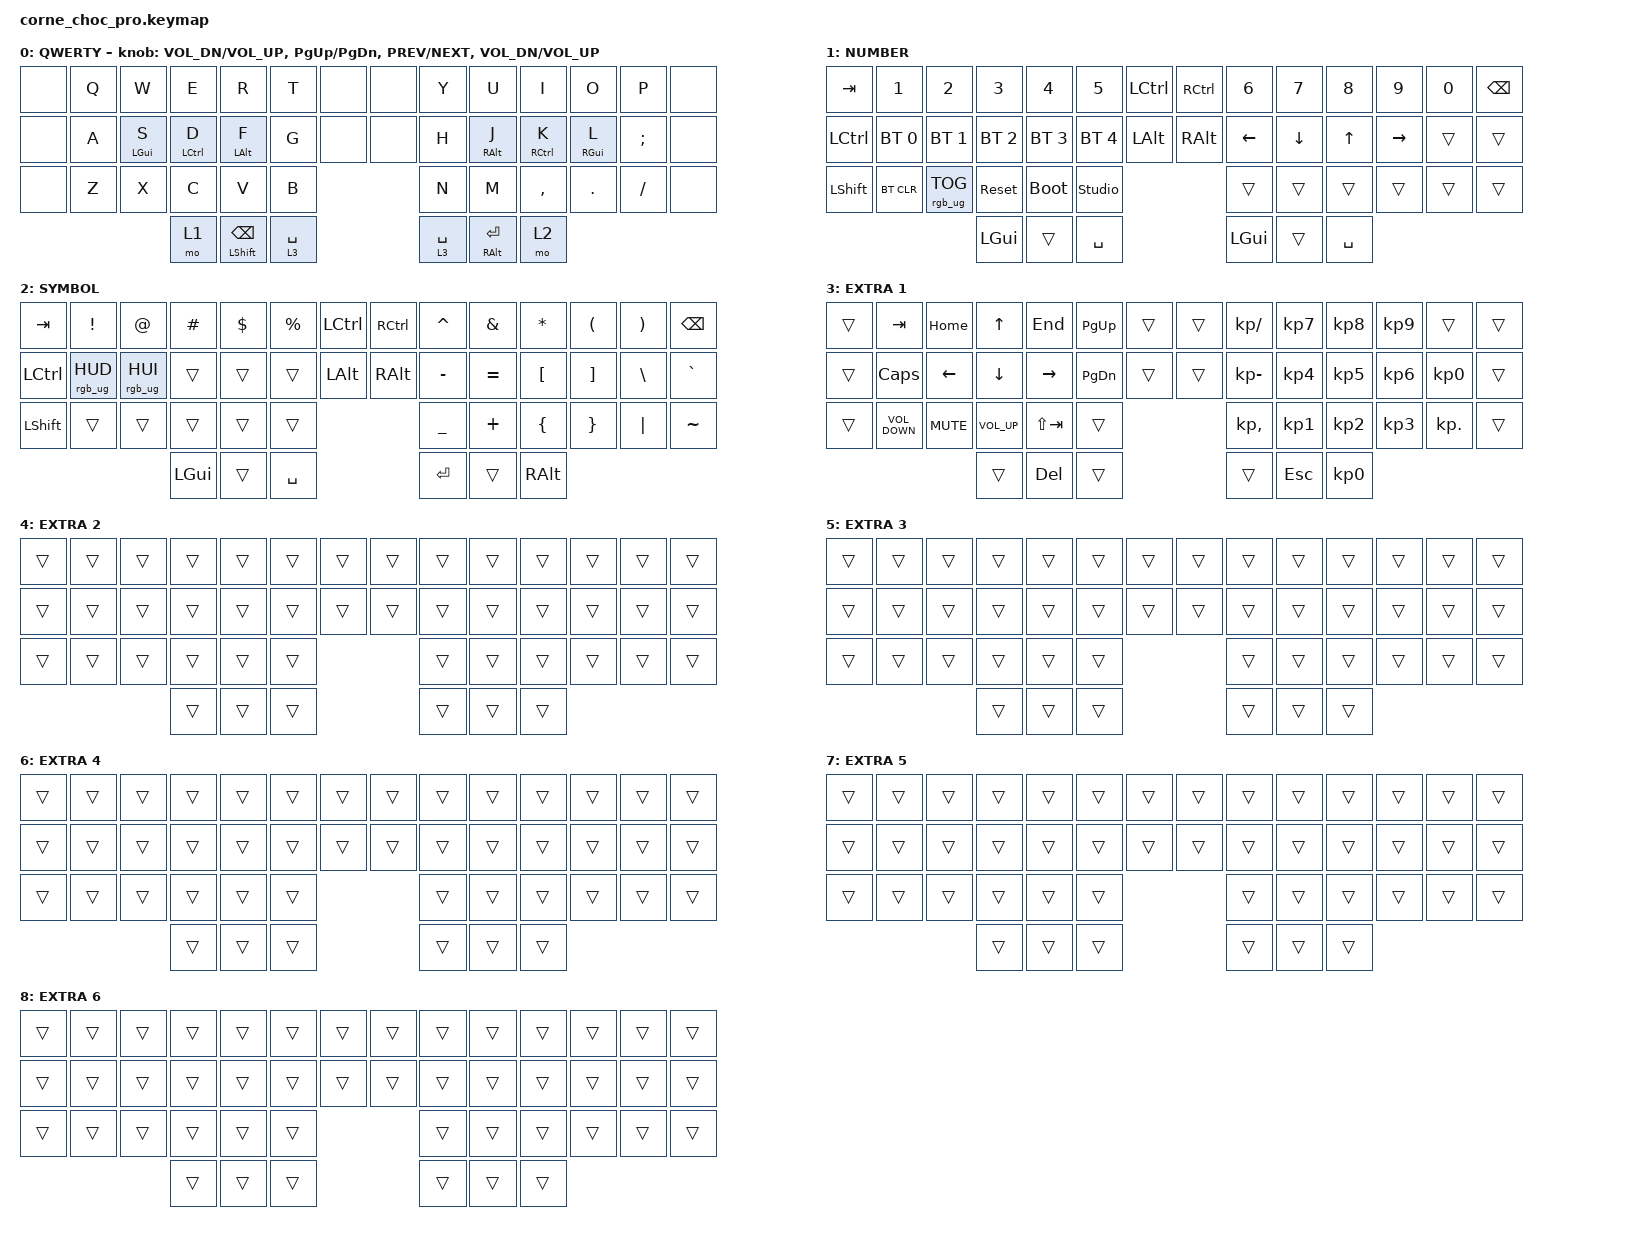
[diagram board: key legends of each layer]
/*
 * Copyright (c) 2020 The ZMK Contributors
 *
 * SPDX-License-Identifier: MIT
 */

#include <behaviors.dtsi>
#include <dt-bindings/zmk/bt.h>
#include <dt-bindings/zmk/keys.h>
#include <dt-bindings/zmk/rgb.h>

/ {
    chosen { zmk,physical-layout = &five_col_layout; };
};

/ {
    behaviors {
        lp: long_press {
            compatible = "zmk,behavior-hold-tap";
            label = "LP";
            bindings = <&kp>, <&kp>;

            #binding-cells = <2>;
            tapping-term-ms = <350>;
            flavor = "tap-preferred";
        };

        hrsr: HomeRowShiftRight {
            compatible = "zmk,behavior-hold-tap";
            label = "HRSR";
            bindings = <&kp>, <&kp>;

            #binding-cells = <2>;
            tapping-term-ms = <200>;
            hold-while-undecided;
            hold-trigger-key-positions = <0 1 2 4 5 6 14 15 16 17 18 19 20 28 29 30 31 32 33 41 40 42>;
            hold-trigger-on-release;
        };

        hrsl: HomeRowShiftLeft {
            compatible = "zmk,behavior-hold-tap";
            label = "HRSL";
            bindings = <&kp>, <&kp>;

            #binding-cells = <2>;
            tapping-term-ms = <200>;
            hold-while-undecided;
            hold-trigger-on-release;
            hold-trigger-key-positions = <7 8 9 10 11 12 13 21 22 23 24 25 26 27 34 35 36 37 38 39 43 44 45>;
        };

        hrr: HomeRowRight {
            compatible = "zmk,behavior-hold-tap";
            label = "HRR";
            bindings = <&kp>, <&kp>;

            #binding-cells = <2>;
            tapping-term-ms = <200>;
            hold-while-undecided;
            hold-trigger-key-positions = <0 1 2 4 5 6 14 15 16 17 18 19 20 28 29 30 31 32 33 41 40 42>;
            hold-trigger-on-release;
            flavor = "tap-preferred";
        };

        hrl: HomeRowLeft {
            compatible = "zmk,behavior-hold-tap";
            label = "HRL";
            bindings = <&kp>, <&kp>;

            #binding-cells = <2>;
            tapping-term-ms = <200>;
            hold-while-undecided;
            hold-trigger-on-release;
            hold-trigger-key-positions = <7 8 9 10 11 12 13 21 22 23 24 25 26 27 34 35 36 37 38 39 43 44 45>;
            flavor = "tap-preferred";
        };

        nav: nav {
            compatible = "zmk,behavior-hold-tap";
            label = "NAV";
            bindings = <&kp>, <&kp>;

            #binding-cells = <2>;
            tapping-term-ms = <200>;
            hold-trigger-key-positions = <0 1 2 4 5 6 14 15 16 17 18 19 20 28 29 30 31 32 33 41 44 8 9 10 11 12 13 22 23 24 25 26 27 34 35 36 37 38 39 44 7 21 3>;
            hold-trigger-on-release;
            flavor = "tap-preferred";
        };
    };

    keymap {
        compatible = "zmk,keymap";

        default_layer {
            display-name = "QWERTY";

            // --------------------------------------------------------------------------------
            // |  TAB |  Q  |  W  |  E  |  R  |  T  |  MUTE |  PP   |  Y  |  U   |  I  |  O  |  P  | BSPC |
            // | CTRL |  A  |  S  |  D  |  F  |  G  |  LALT |  RALT |  H  |  J   |  K  |  L  |  ;  |  '   |
            // | SHFT |  Z  |  X  |  C  |  V  |  B  |               |  N  |  M   |  ,  |  .  |  /  | ESC  |
            //                    | GUI | LWR | SPC |               | ENT | RSE  | ALT |

            bindings = <
&none  &kp Q  &kp W            &kp E                &kp R                       &kp T        &none  &none  &kp Y        &kp U                  &kp I                 &kp O             &kp P     &none
&none  &kp A  &hrl LEFT_GUI S  &hrl LEFT_CONTROL D  &hrl LEFT_ALT F             &kp G        &none  &none  &kp H        &hrr RIGHT_ALT J       &hrr RIGHT_CONTROL K  &hrr RIGHT_GUI L  &kp SEMI  &none
&none  &kp Z  &kp X            &kp C                &kp V                       &kp B                      &kp N        &kp M                  &kp COMMA             &kp DOT           &kp FSLH  &none
                               &mo 1                &hrsl LEFT_SHIFT BACKSPACE  &lt 3 SPACE                &lt 3 SPACE  &hrsr RIGHT_ALT ENTER  &mo 2
            >;

            sensor-bindings = <&inc_dec_kp C_VOL_DN C_VOL_UP &inc_dec_kp PG_UP PG_DN &inc_dec_kp C_PREV C_NEXT &inc_dec_kp C_VOL_DN C_VOL_UP>;
        };

        lower_layer {
            display-name = "NUMBER";

            // -----------------------------------------------------------------------------------------
            // |  TAB |  1  |  2  |  3  |  4  |  5    |  LCTRL | RCTRL |  6  |  7  |  8  |  9  |  0  | BSPC |
            // | CTRL | BT1 | BT2 | BT3 | BT4 | BT5   |  LALT  | RALT  | LFT | DWN |  UP | RGT |     |      |
            // | SHFT | BTCR| RGB | RST | BOOT| Unlock|        |       |     |     |     |     |     |      |
            //                    | GUI |     | SPC   |        | ENT   |     | ALT |

            bindings = <
&kp TAB    &kp N1        &kp N2           &kp N3        &kp N4        &kp N5          &kp LCTRL  &kp RCTRL  &kp N6    &kp N7    &kp N8     &kp N9     &kp N0  &kp BSPC
&kp LCTRL  &bt BT_SEL 0  &bt BT_SEL 1     &bt BT_SEL 2  &bt BT_SEL 3  &bt BT_SEL 4    &kp LALT   &kp RALT   &kp LEFT  &kp DOWN  &kp UP     &kp RIGHT  &trans  &trans
&kp LSHFT  &bt BT_CLR    &rgb_ug RGB_TOG  &sys_reset    &bootloader   &studio_unlock                        &trans    &trans    &trans     &trans     &trans  &trans
                                          &kp LGUI      &trans        &kp SPACE                             &kp LGUI  &trans    &kp SPACE
            >;
        };

        raise_layer {
            display-name = "SYMBOL";

            // -----------------------------------------------------------------------------------------
            // |  TAB |  !  |  @  |  #  |  $  |  %  | LCTRL | RCTRL |  ^  |  &  |  *  |  (  |  )  | BSPC |
            // | CTRL | HUD | HUI |     |     |     |  LALT | RALT  |  -  |  =  |  [  |  ]  |  \  |  `   |
            // | SHFT |     |     |     |     |     |               |  _  |  +  |  {  |  }  | "|" |  ~   |
            //                    | GUI |     | SPC |               | ENT |     | ALT |

            bindings = <
&kp TAB    &kp EXCL         &kp AT           &kp HASH  &kp DLLR  &kp PRCNT  &kp LCTRL  &kp RCTRL  &kp CARET  &kp AMPS   &kp ASTRK  &kp LPAR  &kp RPAR  &kp BSPC
&kp LCTRL  &rgb_ug RGB_HUD  &rgb_ug RGB_HUI  &trans    &trans    &trans     &kp LALT   &kp RALT   &kp MINUS  &kp EQUAL  &kp LBKT   &kp RBKT  &kp BSLH  &kp GRAVE
&kp LSHFT  &trans           &trans           &trans    &trans    &trans                           &kp UNDER  &kp PLUS   &kp LBRC   &kp RBRC  &kp PIPE  &kp TILDE
                                             &kp LGUI  &trans    &kp SPACE                        &kp RET    &trans     &kp RALT
            >;
        };

        nav {
            display-name = "EXTRA 1";
            bindings = <
&trans  &kp TAB            &kp HOME    &kp UP           &kp END      &kp PAGE_UP    &trans  &trans  &kp KP_DIVIDE  &kp KP_NUMBER_7  &kp KP_N8  &kp KP_N9        &trans      &trans
&trans  &kp CAPS           &kp LEFT    &kp DOWN         &kp RIGHT    &kp PAGE_DOWN  &trans  &trans  &kp KP_MINUS   &kp KP_N4        &kp KP_N5  &kp KP_NUMBER_6  &kp KP_N0   &trans
&trans  &kp C_VOLUME_DOWN  &kp C_MUTE  &kp C_VOLUME_UP  &kp LS(TAB)  &trans                         &kp KP_COMMA   &kp KP_N1        &kp KP_N2  &kp KP_N3        &kp KP_DOT  &trans
                                       &trans           &kp DELETE   &trans                         &trans         &kp ESCAPE       &kp KP_N0
            >;
        };

        extra_layer_2 {
            display-name = "EXTRA 2";
            bindings = <
&trans  &trans  &trans  &trans  &trans  &trans  &trans  &trans  &trans  &trans  &trans  &trans  &trans  &trans
&trans  &trans  &trans  &trans  &trans  &trans  &trans  &trans  &trans  &trans  &trans  &trans  &trans  &trans
&trans  &trans  &trans  &trans  &trans  &trans                  &trans  &trans  &trans  &trans  &trans  &trans
                        &trans  &trans  &trans                  &trans  &trans  &trans
            >;
        };

        extra_layer_3 {
            display-name = "EXTRA 3";
            bindings = <
&trans  &trans  &trans  &trans  &trans  &trans  &trans  &trans  &trans  &trans  &trans  &trans  &trans  &trans
&trans  &trans  &trans  &trans  &trans  &trans  &trans  &trans  &trans  &trans  &trans  &trans  &trans  &trans
&trans  &trans  &trans  &trans  &trans  &trans                  &trans  &trans  &trans  &trans  &trans  &trans
                        &trans  &trans  &trans                  &trans  &trans  &trans
            >;
        };

        extra_layer_4 {
            display-name = "EXTRA 4";
            bindings = <
&trans  &trans  &trans  &trans  &trans  &trans  &trans  &trans  &trans  &trans  &trans  &trans  &trans  &trans
&trans  &trans  &trans  &trans  &trans  &trans  &trans  &trans  &trans  &trans  &trans  &trans  &trans  &trans
&trans  &trans  &trans  &trans  &trans  &trans                  &trans  &trans  &trans  &trans  &trans  &trans
                        &trans  &trans  &trans                  &trans  &trans  &trans
            >;
        };

        extra_layer_5 {
            display-name = "EXTRA 5";
            bindings = <
&trans  &trans  &trans  &trans  &trans  &trans  &trans  &trans  &trans  &trans  &trans  &trans  &trans  &trans
&trans  &trans  &trans  &trans  &trans  &trans  &trans  &trans  &trans  &trans  &trans  &trans  &trans  &trans
&trans  &trans  &trans  &trans  &trans  &trans                  &trans  &trans  &trans  &trans  &trans  &trans
                        &trans  &trans  &trans                  &trans  &trans  &trans
            >;
        };

        extra_layer_6 {
            display-name = "EXTRA 6";
            bindings = <
&trans  &trans  &trans  &trans  &trans  &trans  &trans  &trans  &trans  &trans  &trans  &trans  &trans  &trans
&trans  &trans  &trans  &trans  &trans  &trans  &trans  &trans  &trans  &trans  &trans  &trans  &trans  &trans
&trans  &trans  &trans  &trans  &trans  &trans                  &trans  &trans  &trans  &trans  &trans  &trans
                        &trans  &trans  &trans                  &trans  &trans  &trans
            >;
        };
    };
};
